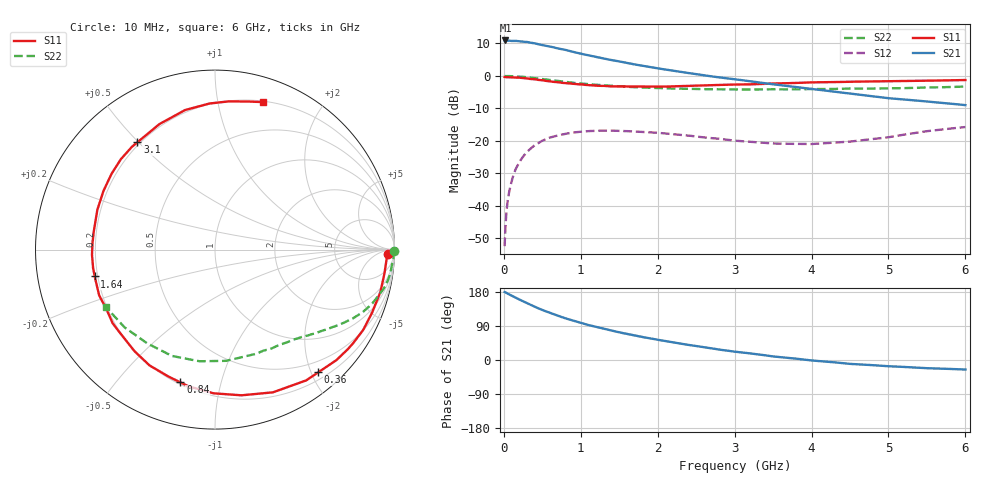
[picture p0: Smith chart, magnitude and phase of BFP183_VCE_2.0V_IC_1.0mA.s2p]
! Infineon Technologies  Discrete & RF Semiconductors
! BFP183
! VCE = 2.0 V,  IC =  1.0 mA
! Common Emitter S-Parameters:  Jan 2016
# GHz  S  MA  R  50
!  f  S11  S21  S12  S22
! GHz  MAG  ANG  MAG  ANG  MAG  ANG  MAG  ANG
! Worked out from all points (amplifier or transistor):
!   210 points, 10 MHz to 6 GHz, reference 50 ohm
!   highest |S21| = 10.9 dB at 20 MHz (marker M1)
!   |S21| within 3 dB of that: start of sweep to 816.2 MHz
!   unconditionally stable (mu >= 1): 2.449 GHz to end of sweep
!   at 185 MHz: K = 0.08, MSG = 19.0 dB, |S12| = -27.3 dB
!   at 1.52 GHz: K = 0.59, MSG = 10.7 dB, |S12| = -16.9 dB
!   at 6 GHz: K = 1.06, MAG = 1.9 dB, |S12| = -15.7 dB
!   S11 on the Smith chart (normalised r, x): 10 MHz: 37, -24; 360 MHz: 0.31, -2.11; 840 MHz: 0.21, -0.75; 1.64 GHz: 0.19, -0.11; 3.1 GHz: 0.19, +0.50; 6 GHz: 0.21, +1.35
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0.01  0.9625 -1.4  3.472 179.4  0.0024 83.9  0.9999 -0.5
0.02  0.958 -2.9  3.51 178.6  0.0045 84.9  0.9914 -1.0
0.035  0.9554 -5.1  3.506 176.9  0.0082 87.7  0.9937 -1.8
0.06  0.9526 -8.7  3.491 174.1  0.0142 86.0  0.9946 -3.0
0.13  0.9445 -18.8  3.454 166.9  0.031 77.6  0.987 -6.6
0.24  0.9299 -34.0  3.36 155.8  0.0552 69.1  0.97 -12.0
0.3  0.9148 -42.3  3.329 150.5  0.0677 64.6  0.9537 -14.6
0.36  0.8936 -49.9  3.223 144.7  0.0782 59.6  0.9367 -17.2
0.4  0.8884 -55.1  3.172 140.6  0.0855 56.9  0.9264 -18.9
0.48  0.8608 -65.3  3.01 133.7  0.0974 51.0  0.9022 -21.8
0.6  0.8251 -79.7  2.838 124.3  0.1126 43.6  0.8659 -25.8
0.7  0.8006 -90.6  2.65 116.9  0.1214 37.7  0.8346 -28.7
0.84  0.7644 -104.6  2.443 107.6  0.131 30.6  0.7985 -32.1
1.02  0.736 -121.2  2.17 96.8  0.1391 22.8  0.7604 -36.0
1.3  0.7025 -144.3  1.849 82.4  0.1438 12.9  0.7157 -41.2
1.64  0.6863 -167.4  1.55 67.4  0.1406 4.2  0.6762 -46.9
2.02  0.6828 170.5  1.296 52.7  0.1326 -2.5  0.6504 -53.2
2.58  0.7127 144.5  1.03 34.4  0.1138 -7.4  0.6253 -63.9
3.1  0.7378 125.9  0.858 19.8  0.0989 -5.8  0.6174 -75.2
4.1  0.7971 100.1  0.611 -2.8  0.0909 11.2  0.6272 -100.8
5.1  0.8315 83.3  0.444 -17.3  0.1192 25.4  0.6457 -128.7
6  0.8636 72.1  0.355 -25.1  0.1635 22.4  0.6865 -152.0
